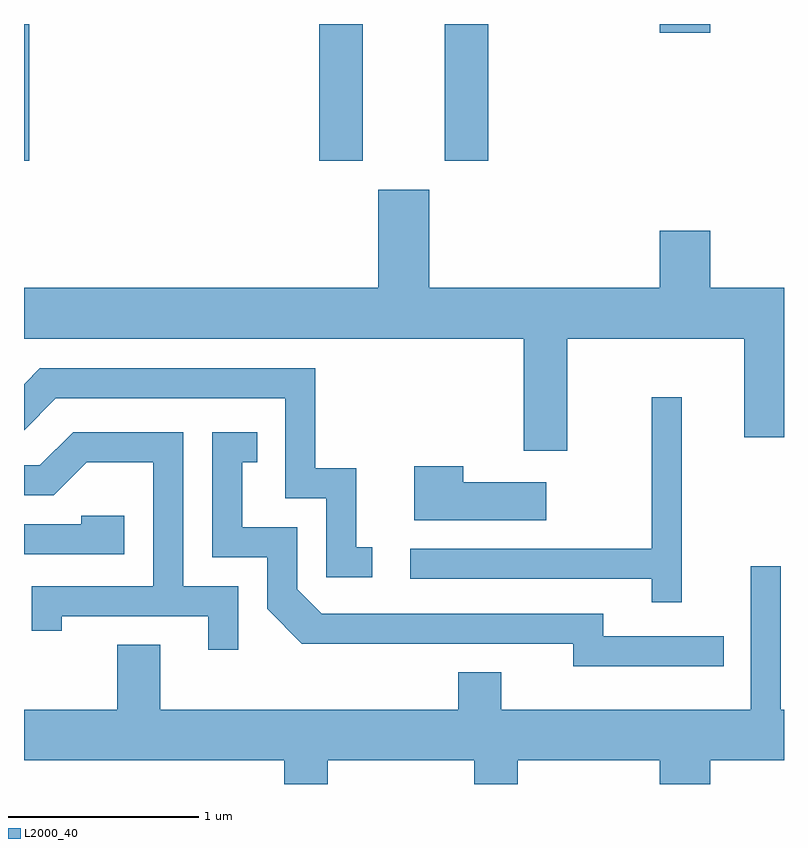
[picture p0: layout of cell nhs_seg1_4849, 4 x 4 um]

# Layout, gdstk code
import gdstk
lib = gdstk.Library(unit=1e-6, precision=1e-09)
def R(c, l, rs):  # rectangles x0, y0, x1, y1
    for r in rs: c.add(gdstk.rectangle(r[:2], r[2:], *l))
def P(c, l, *ps):  # polygons
    for p in ps: c.add(gdstk.Polygon(p, *l))
L2000_40 = (2000, 40)

nhs_seg1_4849 = lib.new_cell('nhs_seg1_4849')
R(nhs_seg1_4849, L2000_40, [(331.611,864.991,331.639,865.712), (333.166,864.991,333.394,865.712), (333.826,864.991,334.054,865.712), (334.956,865.666,335.224,865.712)])
P(nhs_seg1_4849, L2000_40, [(334.469,864.056),(335.401,864.056),(335.401,863.536),(335.611,863.536),(335.611,864.324),(335.224,864.324),(335.224,864.624),(334.956,864.624),(334.956,864.324),(333.744,864.324),(333.744,864.839),(333.476,864.839),(333.476,864.324),(331.611,864.324),(331.611,864.056),(334.241,864.056),(334.241,863.466),(334.469,863.466)],
  [(333.443,862.959),(333.359,862.959),(333.359,863.374),(333.144,863.374),(333.144,863.899),(331.694,863.899),(331.611,863.816),(331.611,863.575),(331.777,863.741),(332.986,863.741),(332.986,863.216),(333.201,863.216),(333.201,862.801),(333.443,862.801)],
  [(335.074,863.748),(334.916,863.748),(334.916,862.949),(333.643,862.949),(333.643,862.791),(334.916,862.791),(334.916,862.668),(335.074,862.668)],
  [(335.293,862.489),(334.659,862.489),(334.659,862.609),(333.177,862.609),(333.049,862.737),(333.049,863.064),(332.759,863.064),(332.759,863.406),(332.838,863.406),(332.838,863.564),(332.601,863.564),(332.601,862.906),(332.891,862.906),(332.891,862.634),(333.074,862.451),(334.501,862.451),(334.501,862.331),(335.293,862.331)],
  [(332.739,862.754),(332.449,862.754),(332.449,863.564),(331.869,863.564),(331.694,863.389),(331.611,863.389),(331.611,863.231),(331.767,863.231),(331.942,863.406),(332.291,863.406),(332.291,862.754),(331.651,862.754),(331.651,862.518),(331.809,862.518),(331.809,862.596),(332.581,862.596),(332.581,862.418),(332.739,862.418)],
  [(334.359,863.299),(333.924,863.299),(333.924,863.384),(333.666,863.384),(333.666,863.101),(334.359,863.101)],
  [(332.139,863.124),(331.911,863.124),(331.911,863.079),(331.611,863.079),(331.611,862.921),(332.139,862.921)],
  [(333.209,861.836),(333.981,861.836),(333.981,861.712),(334.209,861.712),(334.209,861.836),(334.956,861.836),(334.956,861.712),(335.224,861.712),(335.224,861.836),(335.611,861.836),(335.611,862.104),(335.594,862.104),(335.594,862.858),(335.436,862.858),(335.436,862.104),(334.124,862.104),(334.124,862.299),(333.896,862.299),(333.896,862.104),(332.329,862.104),(332.329,862.444),(332.101,862.444),(332.101,862.104),(331.611,862.104),(331.611,861.836),(332.981,861.836),(332.981,861.712),(333.209,861.712)])

lib.write_gds('nhs_seg1_4849.gds')
